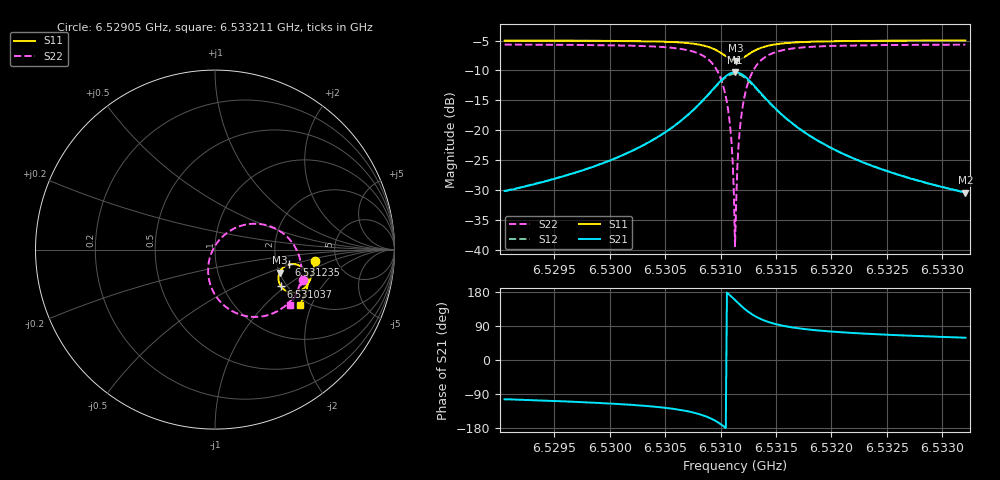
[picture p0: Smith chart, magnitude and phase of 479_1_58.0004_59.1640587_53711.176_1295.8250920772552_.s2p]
#  HZ  S  RI  R  50.00
! Rohde & Schwarz Vector Network Analyzer
! Rohde-Schwarz,ZNB20-2Port,1311601062101988,3.16
! Created: UTC 3/21/2024, 1:11:47 AM
! freq[Hz]  re:S11  im:S11  re:S21  im:S21  re:S12  im:S12  re:S22  im:S22
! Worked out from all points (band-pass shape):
!   401 points, 6.52905 GHz to 6.533211 GHz, reference 50 ohm
!   highest |S21| = -10.31 dB at 6.53113 GHz (marker M1); lowest = -30.5 dB at 6.533211 GHz (marker M2)
!   |S21| within 3 dB of the highest: 6.530924 GHz to 6.53134 GHz (415.5 kHz wide, 0.00636 % of centre)
!   lowest |S11| = -8.4 dB at 6.531141 GHz (marker M3), VSWR 2.24, Z = 100 - j30.1 ohm
!   |S11| at or under -10 dB: nowhere
!   |S22| runs from -39.4 to -5.7 dB; largest |S21 - S12| = 0.012
!   S11 on the Smith chart (normalised r, x): 6.52905 GHz: 3.43, -0.63; 6.531037 GHz: 1.86, -0.93; 6.531235 GHz: 2.34, -0.47; 6.533211 GHz: 1.82, -1.64
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6.5290503e9  0.5573 -0.0634  -0.00728 -0.0302  -0.00789 -0.03  0.4917 -0.1671
6.5297472e9  0.5467 -0.1211  -0.0165 -0.0427  -0.0176 -0.0424  0.4609 -0.2319
6.530444e9  0.5179 -0.19  -0.0502 -0.0735  -0.0524 -0.072  0.38 -0.3226
6.5306833e9  0.4908 -0.2196  -0.0897 -0.0925  -0.0924 -0.0895  0.2997 -0.3633
6.5308601e9  0.4472 -0.2385  -0.1574 -0.0986  -0.1597 -0.0925  0.1741 -0.3709
6.5309641e9  0.4027 -0.2331  -0.2264 -0.0723  -0.2257 -0.063  0.0568 -0.3161
6.5310369e9  0.3684 -0.2056  -0.2772 -0.0141  -0.2716 -0.0045  -0.0207 -0.2098
6.5310785e9  0.3556 -0.1777  -0.293 0.0386  -0.2843 0.0462  -0.0384 -0.1199
6.5310993e9  0.3536 -0.1615  -0.2936 0.0683  -0.2838 0.0745  -0.0347 -0.0705
6.5311097e9  0.3537 -0.1531  -0.2917 0.0836  -0.2815 0.0889  -0.029 -0.0457
6.5311201e9  0.3549 -0.1447  -0.2884 0.0987  -0.2777 0.1031  -0.0209 -0.0215
6.5311305e9  0.3571 -0.1364  -0.2834 0.1134  -0.2726 0.1169  -0.0105 0.0021
6.5311409e9  0.3599 -0.1284  -0.2769 0.1277  -0.2663 0.1302  0.00224 0.0243
6.5311513e9  0.3636 -0.1206  -0.2692 0.1411  -0.2585 0.1426  0.0171 0.0453
6.5311617e9  0.3681 -0.1135  -0.2603 0.1538  -0.25 0.1543  0.0338 0.0644
6.5311825e9  0.3791 -0.1012  -0.2394 0.1753  -0.2299 0.1744  0.0715 0.0968
6.5312345e9  0.4122 -0.083  -0.1792 0.2074  -0.1726 0.2042  0.1762 0.1402
6.5313073e9  0.4549 -0.0835  -0.1039 0.2093  -0.1005 0.2061  0.3029 0.1309
6.5314113e9  0.492 -0.1061  -0.0395 0.178  -0.0378 0.1764  0.4085 0.0642
6.5318274e9  0.5174 -0.1861  0.016 0.0857  0.0169 0.0854  0.4817 -0.1281
6.5325242e9  0.4979 -0.2572  0.0179 0.0411  0.0186 0.0409  0.4538 -0.245
6.5332107e9  0.4709 -0.3083  0.0156 0.0256  0.016 0.0256  0.4189 -0.3061
